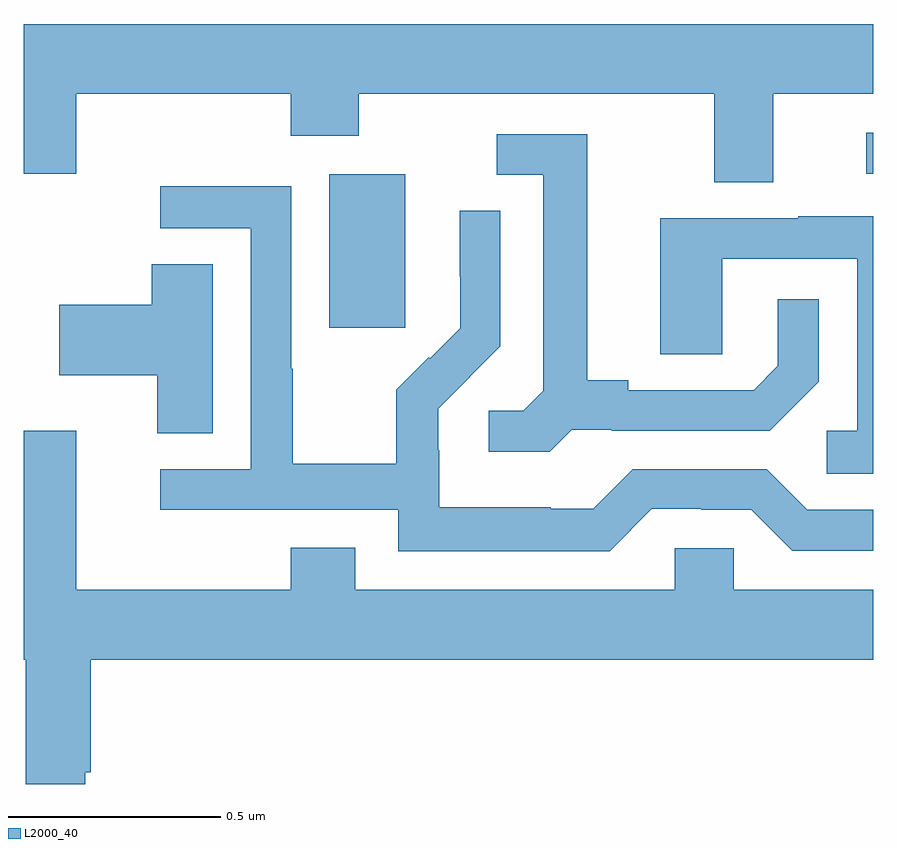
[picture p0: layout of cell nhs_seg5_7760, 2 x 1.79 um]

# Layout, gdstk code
import gdstk
lib = gdstk.Library(unit=1e-6, precision=1e-09)
def R(c, l, rs):  # rectangles x0, y0, x1, y1
    for r in rs: c.add(gdstk.rectangle(r[:2], r[2:], *l))
def P(c, l, *ps):  # polygons
    for p in ps: c.add(gdstk.Polygon(p, *l))
L2000_40 = (2000, 40)

nhs_seg5_7760 = lib.new_cell('nhs_seg5_7760')
R(nhs_seg5_7760, L2000_40, [(213.719,858.873,213.898,859.234), (214.983,859.236,215,859.332)])
P(nhs_seg5_7760, L2000_40, [(214.765,859.424),(215,859.424),(215,859.588),(213,859.588),(213,859.236),(213.124,859.236),(213.124,859.424),(213.629,859.424),(213.629,859.325),(213.789,859.325),(213.789,859.424),(214.625,859.424),(214.625,859.216),(214.765,859.216)],
  [(214.29,858.633),(214.384,858.633),(214.384,858.63),(214.756,858.63),(214.872,858.746),(214.872,858.94),(214.775,858.94),(214.775,858.783),(214.718,858.726),(214.423,858.726),(214.423,858.749),(214.327,858.749),(214.327,859.329),(214.113,859.329),(214.113,859.233),(214.223,859.233),(214.223,858.725),(214.176,858.678),(214.095,858.678),(214.095,858.581),(214.238,858.581)],
  [(214.479,858.447),(214.595,858.447),(214.595,858.444),(214.713,858.444),(214.809,858.348),(215,858.348),(215,858.444),(214.845,858.444),(214.749,858.54),(214.434,858.54),(214.341,858.447),(214.241,858.447),(214.241,858.451),(213.978,858.451),(213.978,858.585),(213.976,858.585),(213.976,858.682),(214.05,858.756),(214.049,858.757),(214.122,858.83),(214.122,859.148),(214.026,859.148),(214.026,858.994),(214.028,858.994),(214.028,858.872),(213.957,858.801),(213.954,858.804),(213.877,858.727),(213.877,858.553),(213.633,858.553),(213.633,858.776),(213.63,858.776),(213.63,859.206),(213.321,859.206),(213.321,859.107),(213.534,859.107),(213.534,858.54),(213.321,858.54),(213.321,858.444),(213.882,858.444),(213.882,858.347),(214.379,858.347)],
  [(215,859.135),(214.823,859.135),(214.823,859.131),(214.499,859.131),(214.499,858.811),(214.644,858.811),(214.644,859.035),(214.962,859.035),(214.962,858.63),(214.89,858.63),(214.89,858.529),(215,858.529)],
  [(213.445,859.022),(213.302,859.022),(213.302,858.927),(213.084,858.927),(213.084,858.761),(213.314,858.761),(213.314,858.625),(213.445,858.625)],
  [(213.145,857.827),(213.158,857.827),(213.158,858.092),(215,858.092),(215,858.256),(214.671,858.256),(214.671,858.354),(214.533,858.354),(214.533,858.256),(213.781,858.256),(213.781,858.355),(213.629,858.355),(213.629,858.256),(213.124,858.256),(213.124,858.631),(213,858.631),(213,858.092),(213.005,858.092),(213.005,857.799),(213.145,857.799)])

lib.write_gds('nhs_seg5_7760.gds')
